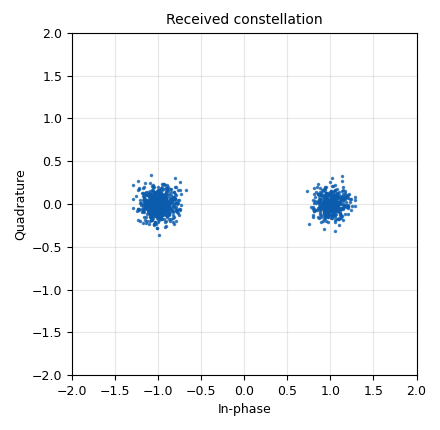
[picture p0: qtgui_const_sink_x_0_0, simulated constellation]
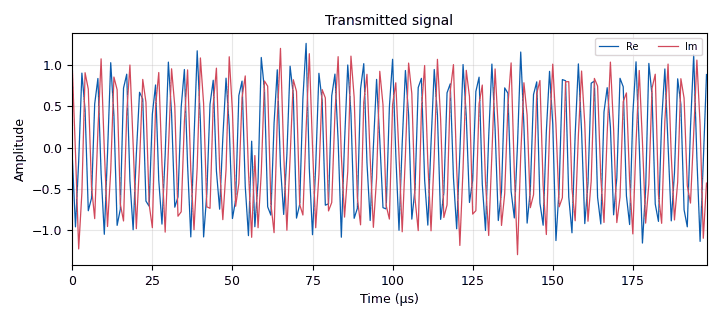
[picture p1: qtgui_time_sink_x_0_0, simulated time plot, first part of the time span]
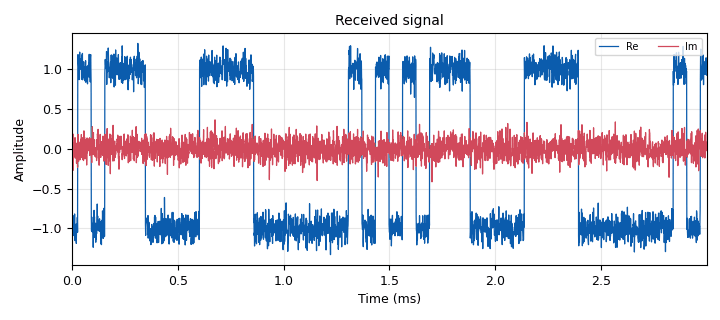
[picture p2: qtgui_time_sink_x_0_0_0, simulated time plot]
options:
  parameters:
    generate_options: qt_gui
    id: OOK_Rx_simulator
    output_language: python
    title: Simulate OOK decoding
  states: {}

blocks:
- name: rx_freq
  id: variable_qtgui_range
  parameters:
    gui_hint: 1,0,1,2
    start: 1e3
    step: '1'
    stop: 500e3
    value: 223e3
  states: {}
- name: samp_rate
  id: variable
  parameters:
    value: 1e6
  states: {}
- name: samps_per_sym
  id: variable
  parameters:
    value: '64'
  states: {}
- name: tx_freq
  id: variable_qtgui_range
  parameters:
    gui_hint: 0,0,1,2
    start: 1e3
    step: '1'
    stop: 500e3
    value: 223e3
  states: {}
- name: analog_noise_source_x_0
  id: analog_noise_source_x
  parameters:
    amp: '0.150'
    noise_type: analog.GR_GAUSSIAN
    seed: '0'
    type: complex
  states: {}
- name: analog_sig_source_x_0
  id: analog_sig_source_x
  parameters:
    amp: '1'
    freq: tx_freq
    offset: '0'
    phase: '0'
    samp_rate: samp_rate
    type: complex
    waveform: analog.GR_COS_WAVE
  states: {}
- name: analog_sig_source_x_0_0
  id: analog_sig_source_x
  parameters:
    amp: '1'
    freq: '-rx_freq'
    offset: '0'
    phase: '0'
    samp_rate: samp_rate
    type: complex
    waveform: analog.GR_COS_WAVE
  states: {}
- name: blocks_add_const_vxx_0
  id: blocks_add_const_vxx
  parameters:
    const: '-1'
    type: complex
  states: {}
- name: blocks_add_xx_0
  id: blocks_add_xx
  parameters:
    type: complex
  states: {}
- name: blocks_multiply_const_vxx_0
  id: blocks_multiply_const_vxx
  parameters:
    const: '2'
    type: complex
  states: {}
- name: blocks_multiply_xx_0
  id: blocks_multiply_xx
  parameters:
    type: complex
  states: {}
- name: blocks_multiply_xx_0_0
  id: blocks_multiply_xx
  parameters:
    type: complex
  states: {}
- name: blocks_repeat_0
  id: blocks_repeat
  parameters:
    interp: samps_per_sym
    type: complex
  states: {}
- name: blocks_throttle_0
  id: blocks_throttle
  parameters:
    samples_per_second: samp_rate
    type: complex
  states: {}
- name: blocks_vector_source_x_0
  id: blocks_vector_source_x
  parameters:
    repeat: 'True'
    type: complex
    vector: (0, 1, 0, 1, 0, 1, 0, 1, 1, 1, 0, 0, 0, 0, 1, 1, 1, 1, 0, 0, 0, 0, 0, 0)
  states: {}
- name: qtgui_const_sink_x_0_0
  id: qtgui_const_sink_x
  parameters:
    grid: 'True'
    gui_hint: 4,0,1,2
    name: '"Received constellation"'
    size: '1024'
    type: complex
  states: {}
- name: qtgui_time_sink_x_0_0
  id: qtgui_time_sink_x
  parameters:
    autoscale: 'True'
    entags: 'False'
    gui_hint: 2,0,1,2
    label1: Re
    label2: Im
    name: '"Transmitted signal"'
    size: '3000'
    srate: samp_rate
    tr_delay: '25e-6'
    tr_level: '0.5'
    tr_mode: qtgui.TRIG_MODE_NORM
    type: complex
  states: {}
- name: qtgui_time_sink_x_0_0_0
  id: qtgui_time_sink_x
  parameters:
    autoscale: 'True'
    entags: 'False'
    gui_hint: 3,0,1,2
    label1: Re
    label2: Im
    name: '"Received signal"'
    size: '3000'
    srate: samp_rate
    tr_delay: '25e-6'
    tr_level: '0.5'
    tr_mode: qtgui.TRIG_MODE_NORM
    type: complex
  states: {}

connections:
- [analog_noise_source_x_0, '0', blocks_add_xx_0, '0']
- [analog_sig_source_x_0, '0', blocks_multiply_xx_0, '1']
- [analog_sig_source_x_0, '0', blocks_throttle_0, '0']
- [analog_sig_source_x_0_0, '0', blocks_multiply_xx_0_0, '1']
- [blocks_add_const_vxx_0, '0', blocks_repeat_0, '0']
- [blocks_add_xx_0, '0', blocks_multiply_xx_0_0, '0']
- [blocks_add_xx_0, '0', qtgui_time_sink_x_0_0, '0']
- [blocks_multiply_const_vxx_0, '0', blocks_add_const_vxx_0, '0']
- [blocks_multiply_xx_0, '0', blocks_add_xx_0, '1']
- [blocks_multiply_xx_0_0, '0', qtgui_const_sink_x_0_0, '0']
- [blocks_multiply_xx_0_0, '0', qtgui_time_sink_x_0_0_0, '0']
- [blocks_repeat_0, '0', blocks_multiply_xx_0, '0']
- [blocks_vector_source_x_0, '0', blocks_multiply_const_vxx_0, '0']

metadata:
  file_format: 1
